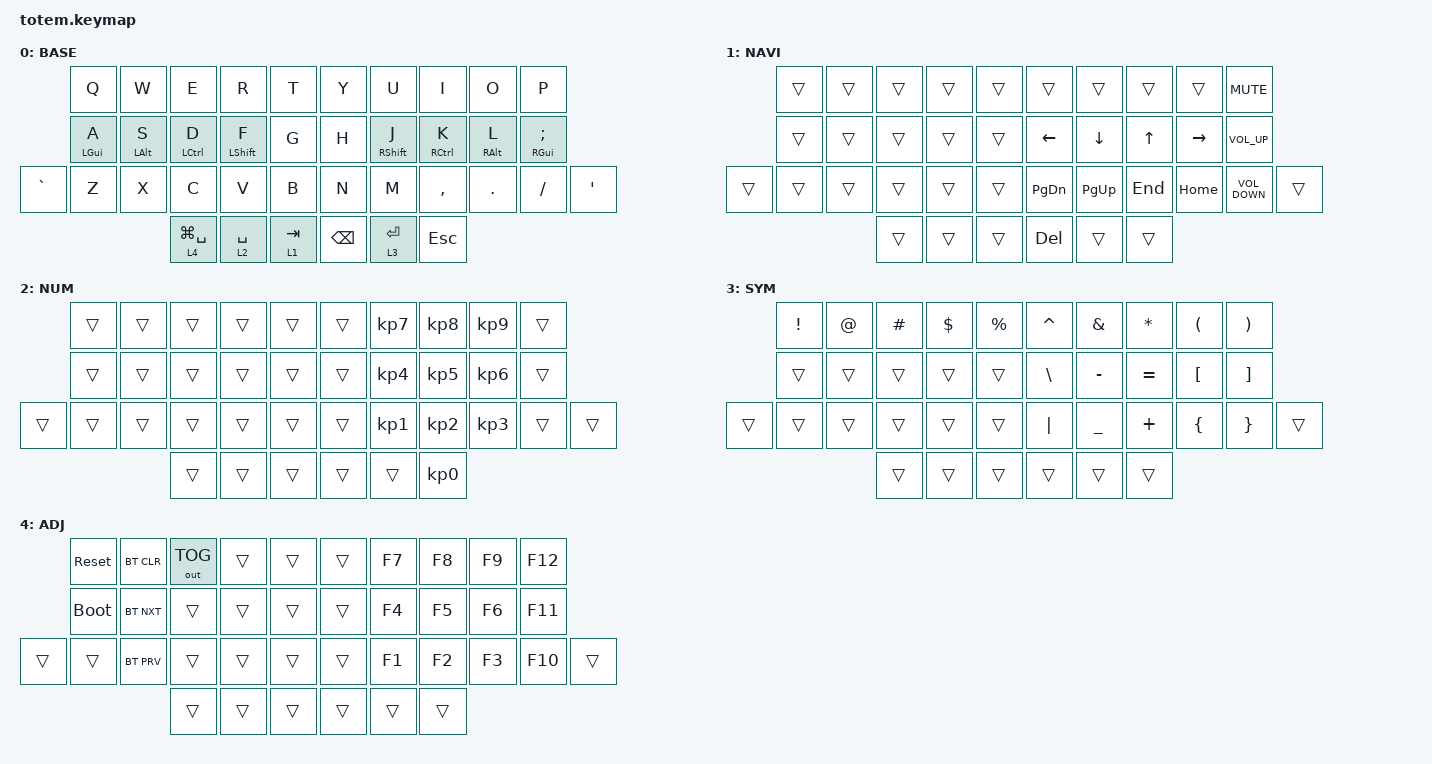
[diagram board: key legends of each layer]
//
//                                                        ▀▀▀▀▀     ▀▀▀▀▀          ▀▀█▀▀
//                                                        ▄▀▀▀▄  ▄  ▄▀▀▀▄  ▄  ▄▀▀▀▄  █  ▄▀▀▀▄
//                                                        █   █  █  █   █  █  █   █  █  █   █
//                                                         ▀▀▀   █   ▀▀▀   █   ▀▀▀   ▀   ▀▀▀
//                                                               █      ▄▄▄█▄▄▄    █   █  
//                                                               ▀      █  █  █     █▄█
//                                                             ▀▀▀▀▀    █  █  █      ▀
//                                                                      ▀  ▀  ▀
//
// ▄▄▄▄▄▄▄▄▄▄▄▄▄▄▄▄▄▄▄▄▄▄▄▄▄▄▄▄▄▄▄▄▄▄▄▄▄▄▄▄▄▄▄▄▄▄▄▄▄▄▄▄▄▄▄▄▄▄▄▄▄▄▄▄▄▄▄▄▄▄▄▄▄▄▄▄▄▄▄▄▄▄▄▄▄▄▄▄▄▄▄▄▄▄▄▄▄▄▄▄▄▄▄▄▄▄▄▄▄▄▄▄▄▄▄▄▄▄▄▄▄▄▄▄▄▄▄▄▄▄▄▄▄▄▄▄▄▄▄▄▄▄▄▄▄▄▄▄▄

#include <behaviors.dtsi>
#include <dt-bindings/zmk/bt.h>
#include <dt-bindings/zmk/keys.h>
#include <dt-bindings/zmk/outputs.h>

#define BASE 0
#define NAV  1
#define SYM  2
#define ADJ  3
#define TVP1 4
#define TVP2 5

&mt {
    quick-tap-ms = <100>;
    global-quick-tap;
    flavor = "tap-preferred";
};

&lt {
    flavor = "hold-preferred";
    quick-tap-ms = <100>;
};

/ {
    combos {
        compatible = "zmk,combos";

        combo_esc {
            timeout-ms = <50>;
            key-positions = <0 1>;
            bindings = <&kp ESC>;
            layers = <0>;
        };

        minus {
            bindings = <&kp MINUS>;
            key-positions = <7 8>;
            layers = <0>;
        };

        equal {
            bindings = <&kp EQUAL>;
            key-positions = <8 9>;
            layers = <0>;
        };

        backslash {
            bindings = <&kp BACKSLASH>;
            key-positions = <18 19>;
            layers = <0>;
        };
    };

    macros {
        gif: gif {
            label = "giphy";
            compatible = "zmk,behavior-macro";
            #binding-cells = <0>;
            bindings =
                <&macro_press>,
                <&kp LSHFT>,
                <&macro_tap>,
                <&kp N2>,
                <&macro_release>,
                <&kp LSHFT>,
                <&macro_tap>,
                <&kp G &kp I &kp F>;
        };
    };

    behaviors {
        hml: hml {
            compatible = "zmk,behavior-hold-tap";
            label = "HML";
            bindings = <&kp>, <&kp>;

            #binding-cells = <2>;
            tapping-term-ms = <280>;
            flavor = "balanced";
            quick-tap-ms = <175>;
            require-prior-idle-ms = <150>;
            hold-trigger-on-release;
            hold-trigger-key-positions = <26 27 16 15 5 6 7 17 28 29 8 18 9 19 30 31 37 36 35 34 33 32>;
        };

        hmr: hmr {
            compatible = "zmk,behavior-hold-tap";
            label = "HMR";
            bindings = <&kp>, <&kp>;

            #binding-cells = <2>;
            tapping-term-ms = <280>;
            flavor = "balanced";
            quick-tap-ms = <175>;
            require-prior-idle-ms = <150>;
            hold-trigger-on-release;
            hold-trigger-key-positions = <37 36 35 34 33 32 25 14 4 13 24 23 12 3 2 1 11 22 21 10 0 20>;
        };
    };

    keymap {
        compatible = "zmk,keymap";

        // ▄▄▄▄▄▄▄▄▄▄▄▄▄▄▄▄▄▄▄▄▄▄▄▄▄▄▄▄▄▄▄▄▄▄▄▄▄▄▄▄▄▄▄▄▄▄▄▄▄▄▄▄▄▄▄▄▄▄▄▄▄▄▄▄▄▄▄▄▄▄▄▄▄▄▄▄▄▄▄▄▄▄▄▄▄▄▄▄▄▄▄▄▄▄▄▄▄▄▄▄▄▄▄▄▄▄▄▄▄▄▄▄▄▄▄▄▄▄▄▄▄▄▄▄▄▄▄▄▄▄▄▄▄▄▄▄▄▄▄▄▄▄▄▄▄▄▄▄▄

        base_layer {
            // ┏━━━━━━━━━━━━━━━━━━━━━━━━━━━━━━━━━━━━━━━┓

            label = "BASE";

            // ┗━━━━━━━━━━━━━━━━━━━━━━━━━━━━━━━━━━━━━━━┛
            //             ┏━━━━━━━━━━━┳━━━━━━━━━━━┳━━━━━━━━━━━┳━━━━━━━━━━━┳━━━━━━━━━━━┓   ┏━━━━━━━━━━━┳━━━━━━━━━━━┳━━━━━━━━━━━┳━━━━━━━━━━━┳━━━━━━━━━━━┓
            //             ┃     Q     ┃     W     ┃     F     ┃     P     ┃     G     ┃   ┃     J     ┃     L     ┃     U     ┃     Y     ┃     ;     ┃
            //             ┣━━━━━━━━━━━╋━━━━━━━━━━━╋━━━━━━━━━━━╋━━━━━━━━━━━╋━━━━━━━━━━━┫   ┣━━━━━━━━━━━╋━━━━━━━━━━━╋━━━━━━━━━━━╋━━━━━━━━━━━╋━━━━━━━━━━━┫
            //             ┃     A     ┃     R     ┃     S     ┃     T     ┃     D     ┃   ┃     H     ┃     N     ┃     E     ┃     I     ┃     O     ┃
            // ┏━━━━━━━━━━━╋━━━━━━━━━━━╋━━━━━━━━━━━╋━━━━━━━━━━━╋━━━━━━━━━━━╋━━━━━━━━━━━┫   ┣━━━━━━━━━━━╋━━━━━━━━━━━╋━━━━━━━━━━━╋━━━━━━━━━━━╋━━━━━━━━━━━╋━━━━━━━━━━━┓
            // ┃     Q     ┃     Z     ┃     X     ┃     C     ┃     V     ┃     B     ┃   ┃     K     ┃     M     ┃     ,     ┃     .     ┃     /     ┃     \     ┃
            // ┗━━━━━━━━━━━┻━━━━━━━━━━━┻━━━━━━━━━━━╋━━━━━━━━━━━╋━━━━━━━━━━━╋━━━━━━━━━━━┫   ┣━━━━━━━━━━━╋━━━━━━━━━━━╋━━━━━━━━━━━╋━━━━━━━━━━━┻━━━━━━━━━━━┻━━━━━━━━━━━┛
            //                                     ┃    DEL    ┃    TAB    ┃    SPC    ┃   ┃   ENTER   ┃           ┃   BSPC    ┃
            //                                     ┗━━━━━━━━━━━┻━━━━━━━━━━━┻━━━━━━━━━━━┛   ┗━━━━━━━━━━━┻━━━━━━━━━━━┻━━━━━━━━━━━┛

            bindings = <
           &kp Q        &kp W        &kp E            &kp R         &kp T        &kp Y          &kp U         &kp I         &kp O        &kp P
           &hml LGUI A  &hml LALT S  &hml LCTRL D     &hml LSHFT F  &kp G        &kp H          &hmr RSHFT J  &hmr RCTRL K  &hmr RALT L  &hmr RGUI SEMICOLON
&kp GRAVE  &kp Z        &kp X        &kp C            &kp V         &kp B        &kp N          &kp M         &kp COMMA     &kp DOT      &kp FSLH             &kp SQT
                                     &lt 4 LG(SPACE)  &lt 2 SPACE   &lt 1 TAB    &kp BACKSPACE  &lt 3 ENTER   &kp ESCAPE
            >;
        };

        nav_layer {
            // ┏━━━━━━━━━━━━━━━━━━━━━━━━━━━━━━━━━━━━━━━┓

            label = "NAVI";

            // ┗━━━━━━━━━━━━━━━━━━━━━━━━━━━━━━━━━━━━━━━┛
            //             ┏━━━━━━━━━━━┳━━━━━━━━━━━┳━━━━━━━━━━━┳━━━━━━━━━━━┳━━━━━━━━━━━┓   ┏━━━━━━━━━━━┳━━━━━━━━━━━┳━━━━━━━━━━━┳━━━━━━━━━━━┳━━━━━━━━━━━┓
            //             ┃           ┃           ┃     UP    ┃           ┃     {     ┃   ┃     }     ┃     7     ┃     8     ┃     9     ┃     +     ┃
            //             ┣━━━━━━━━━━━╋━━━━━━━━━━━╋━━━━━━━━━━━╋━━━━━━━━━━━╋━━━━━━━━━━━┫   ┣━━━━━━━━━━━╋━━━━━━━━━━━╋━━━━━━━━━━━╋━━━━━━━━━━━╋━━━━━━━━━━━┫
            //             ┃   SHIFT   ┃   LEFT    ┃    DOWN   ┃   RIGHT   ┃     [     ┃   ┃     ]     ┃     4     ┃     5     ┃     6     ┃     -     ┃
            // ┏━━━━━━━━━━━╋━━━━━━━━━━━╋━━━━━━━━━━━╋━━━━━━━━━━━╋━━━━━━━━━━━╋━━━━━━━━━━━┫   ┣━━━━━━━━━━━╋━━━━━━━━━━━╋━━━━━━━━━━━╋━━━━━━━━━━━╋━━━━━━━━━━━╋━━━━━━━━━━━┓
            // ┃           ┃           ┃   P UP    ┃  C LOCK   ┃  P DOWN   ┃     (     ┃   ┃     )     ┃     1     ┃     2     ┃     3     ┃     *     ┃           ┃
            // ┗━━━━━━━━━━━┻━━━━━━━━━━━┻━━━━━━━━━━━╋━━━━━━━━━━━╋━━━━━━━━━━━╋━━━━━━━━━━━┫   ┣━━━━━━━━━━━╋━━━━━━━━━━━╋━━━━━━━━━━━╋━━━━━━━━━━━┻━━━━━━━━━━━┻━━━━━━━━━━━┛
            //                                     ┃           ┃    TAB    ┃    SPC    ┃   ┃    DEL    ┃     0     ┃           ┃
            //                                     ┗━━━━━━━━━━━┻━━━━━━━━━━━┻━━━━━━━━━━━┛   ┗━━━━━━━━━━━┻━━━━━━━━━━━┻━━━━━━━━━━━┛

            bindings = <
        &trans  &trans  &trans  &trans  &trans    &trans         &trans       &trans   &trans     &kp K_MUTE
        &trans  &trans  &trans  &trans  &trans    &kp LEFT       &kp DOWN     &kp UP   &kp RIGHT  &kp C_VOLUME_UP
&trans  &trans  &trans  &trans  &trans  &trans    &kp PAGE_DOWN  &kp PAGE_UP  &kp END  &kp HOME   &kp C_VOLUME_DOWN  &trans
                        &trans  &trans  &trans    &kp DELETE     &trans       &trans
            >;
        };

        num_layer {
            // ┏━━━━━━━━━━━━━━━━━━━━━━━━━━━━━━━━━━━━━━━┓

            label = "NUM";

            // ┗━━━━━━━━━━━━━━━━━━━━━━━━━━━━━━━━━━━━━━━┛
            //             ┏━━━━━━━━━━━┳━━━━━━━━━━━┳━━━━━━━━━━━┳━━━━━━━━━━━┳━━━━━━━━━━━┓   ┏━━━━━━━━━━━┳━━━━━━━━━━━┳━━━━━━━━━━━┳━━━━━━━━━━━┳━━━━━━━━━━━┓
            //             ┃ NEXT FILE ┃ MARK IN   ┃ ROTATE    ┃ MARK OUT  ┃ SHOW SNAP ┃   ┃           ┃           ┃           ┃           ┃           ┃
            //             ┣━━━━━━━━━━━╋━━━━━━━━━━━╋━━━━━━━━━━━╋━━━━━━━━━━━╋━━━━━━━━━━━┫   ┣━━━━━━━━━━━╋━━━━━━━━━━━╋━━━━━━━━━━━╋━━━━━━━━━━━╋━━━━━━━━━━━┫
            //             ┃ TVP II    ┃ LEFT      ┃ PAN       ┃ RIGHT     ┃ PLAY/FLIP ┃   ┃           ┃           ┃           ┃           ┃           ┃
            // ┏━━━━━━━━━━━╋━━━━━━━━━━━╋━━━━━━━━━━━╋━━━━━━━━━━━╋━━━━━━━━━━━╋━━━━━━━━━━━┫   ┣━━━━━━━━━━━╋━━━━━━━━━━━╋━━━━━━━━━━━╋━━━━━━━━━━━╋━━━━━━━━━━━╋━━━━━━━━━━━┓
            // ┃ FULLSCR   ┃ SHIFT     ┃ COPY      ┃ DELETE    ┃ PASTE     ┃ IMG MARK  ┃   ┃           ┃           ┃           ┃           ┃           ┃           ┃
            // ┗━━━━━━━━━━━┻━━━━━━━━━━━┻━━━━━━━━━━━╋━━━━━━━━━━━╋━━━━━━━━━━━╋━━━━━━━━━━━┫   ┣━━━━━━━━━━━╋━━━━━━━━━━━╋━━━━━━━━━━━╋━━━━━━━━━━━┻━━━━━━━━━━━┻━━━━━━━━━━━┛
            //                                     ┃           ┃ UNDO/SAVE ┃  SEL/MOV  ┃   ┃           ┃           ┃           ┃
            //                                     ┗━━━━━━━━━━━┻━━━━━━━━━━━┻━━━━━━━━━━━┛   ┗━━━━━━━━━━━┻━━━━━━━━━━━┻━━━━━━━━━━━┛

            bindings = <
        &trans  &trans  &trans  &trans  &trans    &trans  &kp KP_NUMBER_7  &kp KP_NUMBER_8  &kp KP_NUMBER_9  &trans
        &trans  &trans  &trans  &trans  &trans    &trans  &kp KP_NUMBER_4  &kp KP_NUMBER_5  &kp KP_NUMBER_6  &trans
&trans  &trans  &trans  &trans  &trans  &trans    &trans  &kp KP_NUMBER_1  &kp KP_NUMBER_2  &kp KP_NUMBER_3  &trans  &trans
                        &trans  &trans  &trans    &trans  &trans           &kp KP_NUMBER_0
            >;
        };

        sim_layer {
            // ┏━━━━━━━━━━━━━━━━━━━━━━━━━━━━━━━━━━━━━━━┓

            label = "SYM";

            // ┗━━━━━━━━━━━━━━━━━━━━━━━━━━━━━━━━━━━━━━━┛
            //             ┏━━━━━━━━━━━┳━━━━━━━━━━━┳━━━━━━━━━━━┳━━━━━━━━━━━┳━━━━━━━━━━━┓   ┏━━━━━━━━━━━┳━━━━━━━━━━━┳━━━━━━━━━━━┳━━━━━━━━━━━┳━━━━━━━━━━━┓
            //             ┃     !     ┃     @     ┃     #     ┃     $     ┃     %     ┃   ┃     ˆ     ┃     &     ┃     Ü     ┃     '     ┃     "     ┃
            //             ┣━━━━━━━━━━━╋━━━━━━━━━━━╋━━━━━━━━━━━╋━━━━━━━━━━━╋━━━━━━━━━━━┫   ┣━━━━━━━━━━━╋━━━━━━━━━━━╋━━━━━━━━━━━╋━━━━━━━━━━━╋━━━━━━━━━━━┫
            //             ┃     Ä     ┃           ┃    SZ     ┃           ┃           ┃   ┃   MUTE    ┃   YEN     ┃   EURO    ┃  POUND    ┃     Ö     ┃
            // ┏━━━━━━━━━━━╋━━━━━━━━━━━╋━━━━━━━━━━━╋━━━━━━━━━━━╋━━━━━━━━━━━╋━━━━━━━━━━━┫   ┣━━━━━━━━━━━╋━━━━━━━━━━━╋━━━━━━━━━━━╋━━━━━━━━━━━╋━━━━━━━━━━━╋━━━━━━━━━━━┓
            // ┃           ┃  EMAIL1   ┃  EMAIL2   ┃           ┃           ┃           ┃   ┃   VOL-    ┃   VOL+    ┃   LAST    ┃   NEXT    ┃     \     ┃           ┃
            // ┗━━━━━━━━━━━┻━━━━━━━━━━━┻━━━━━━━━━━━╋━━━━━━━━━━━╋━━━━━━━━━━━╋━━━━━━━━━━━┫   ┣━━━━━━━━━━━╋━━━━━━━━━━━╋━━━━━━━━━━━╋━━━━━━━━━━━┻━━━━━━━━━━━┻━━━━━━━━━━━┛
            //                                     ┃           ┃    GIF    ┃    ADJ    ┃   ┃           ┃           ┃           ┃
            //                                     ┗━━━━━━━━━━━┻━━━━━━━━━━━┻━━━━━━━━━━━┛   ┗━━━━━━━━━━━┻━━━━━━━━━━━┻━━━━━━━━━━━┛

            bindings = <
        &kp EXCL  &kp AT  &kp HASH  &kp DLLR  &kp PRCNT    &kp CARET      &kp AMPS        &kp ASTERISK  &kp LEFT_PARENTHESIS  &kp RIGHT_PARENTHESIS
        &trans    &trans  &trans    &trans    &trans       &kp BACKSLASH  &kp MINUS       &kp EQUAL     &kp LEFT_BRACKET      &kp RIGHT_BRACKET
&trans  &trans    &trans  &trans    &trans    &trans       &kp PIPE       &kp UNDERSCORE  &kp PLUS      &kp LEFT_BRACE        &kp RIGHT_BRACE        &trans
                          &trans    &trans    &trans       &trans         &trans          &trans
            >;
        };

        adjust_layer {
            // ┏━━━━━━━━━━━━━━━━━━━━━━━━━━━━━━━━━━━━━━━┓

            label = "ADJ";

            // ┗━━━━━━━━━━━━━━━━━━━━━━━━━━━━━━━━━━━━━━━┛
            //             ┏━━━━━━━━━━━┳━━━━━━━━━━━┳━━━━━━━━━━━┳━━━━━━━━━━━┳━━━━━━━━━━━┓   ┏━━━━━━━━━━━┳━━━━━━━━━━━┳━━━━━━━━━━━┳━━━━━━━━━━━┳━━━━━━━━━━━┓
            //             ┃   RESET   ┃ BT CLEAR  ┃  OUT TOG  ┃           ┃           ┃   ┃           ┃    F7     ┃    F8     ┃    F9     ┃    F12    ┃
            //             ┣━━━━━━━━━━━╋━━━━━━━━━━━╋━━━━━━━━━━━╋━━━━━━━━━━━╋━━━━━━━━━━━┫   ┣━━━━━━━━━━━╋━━━━━━━━━━━╋━━━━━━━━━━━╋━━━━━━━━━━━╋━━━━━━━━━━━┫
            //             ┃ BOOTLOAD  ┃ BT NEXT   ┃           ┃           ┃           ┃   ┃           ┃    F4     ┃    F5     ┃    F6     ┃    F11    ┃
            // ┏━━━━━━━━━━━╋━━━━━━━━━━━╋━━━━━━━━━━━╋━━━━━━━━━━━╋━━━━━━━━━━━╋━━━━━━━━━━━┫   ┣━━━━━━━━━━━╋━━━━━━━━━━━╋━━━━━━━━━━━╋━━━━━━━━━━━╋━━━━━━━━━━━╋━━━━━━━━━━━┓
            // ┃           ┃           ┃ BT PREV   ┃           ┃           ┃           ┃   ┃           ┃    F1     ┃    F2     ┃    F3     ┃    F10    ┃           ┃
            // ┗━━━━━━━━━━━┻━━━━━━━━━━━┻━━━━━━━━━━━╋━━━━━━━━━━━╋━━━━━━━━━━━╋━━━━━━━━━━━┫   ┣━━━━━━━━━━━╋━━━━━━━━━━━╋━━━━━━━━━━━╋━━━━━━━━━━━┻━━━━━━━━━━━┻━━━━━━━━━━━┛
            //                                     ┃           ┃           ┃           ┃   ┃           ┃           ┃           ┃
            //                                     ┗━━━━━━━━━━━┻━━━━━━━━━━━┻━━━━━━━━━━━┛   ┗━━━━━━━━━━━┻━━━━━━━━━━━┻━━━━━━━━━━━┛

            bindings = <
        &sys_reset   &bt BT_CLR  &out OUT_TOG  &trans  &trans    &trans  &kp F7  &kp F8  &kp F9  &kp F12
        &bootloader  &bt BT_NXT  &trans        &trans  &trans    &trans  &kp F4  &kp F5  &kp F6  &kp F11
&trans  &trans       &bt BT_PRV  &trans        &trans  &trans    &trans  &kp F1  &kp F2  &kp F3  &kp F10  &trans
                                 &trans        &trans  &trans    &trans  &trans  &trans
            >;
        };

        // ▄▄▄▄▄▄▄▄▄▄▄▄▄▄▄▄▄▄▄▄▄▄▄▄▄▄▄▄▄▄▄▄▄▄▄▄▄▄▄▄▄▄▄▄▄▄▄▄▄▄▄▄▄▄▄▄▄▄▄▄▄▄▄▄▄▄▄▄▄▄▄▄▄▄▄▄▄▄▄▄▄▄▄▄▄▄▄▄▄▄▄▄▄▄▄▄▄▄▄▄▄▄▄▄▄▄▄▄▄▄▄▄▄▄▄▄▄▄▄▄▄▄▄▄▄▄▄▄▄▄▄▄▄▄▄▄▄▄▄▄▄▄▄▄▄▄▄▄▄
    };
};
